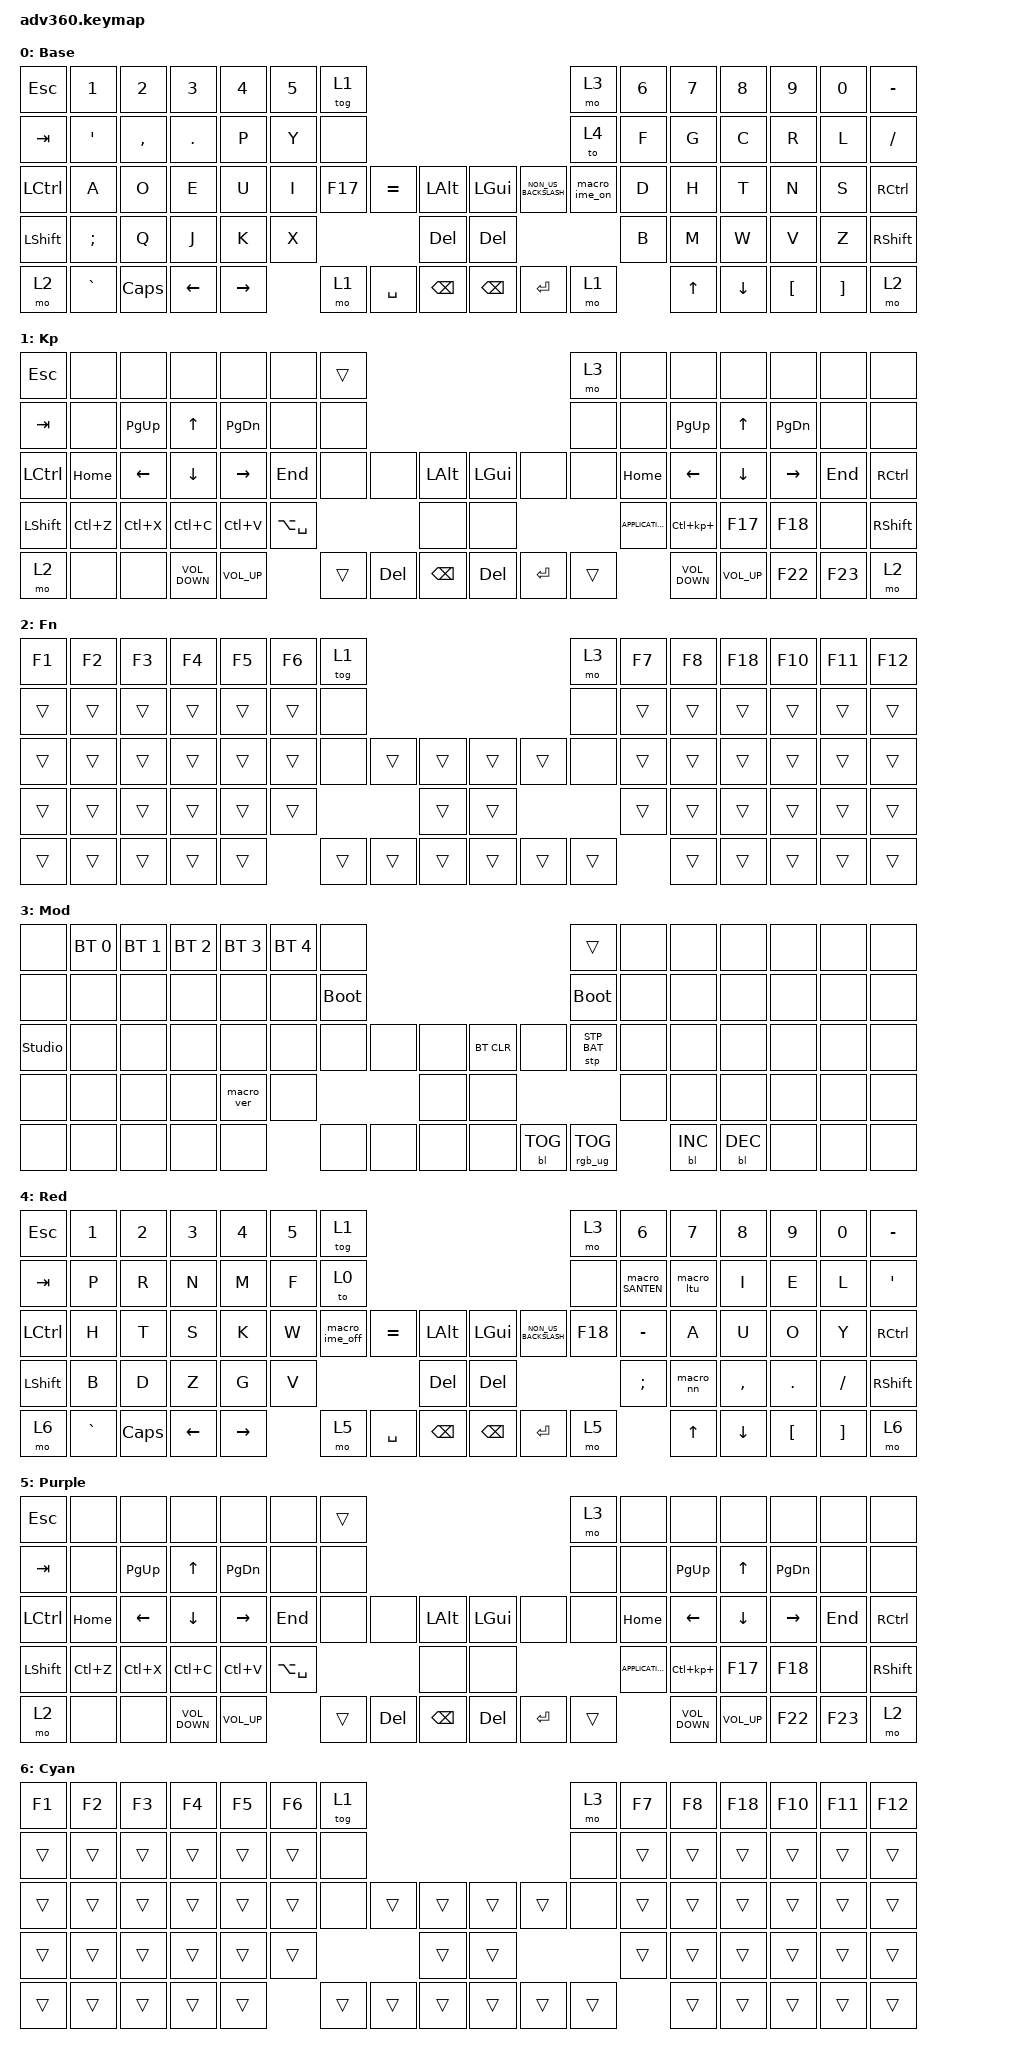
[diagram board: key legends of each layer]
#include <dt-bindings/zmk/stp.h>
#include <behaviors.dtsi>
#include <dt-bindings/zmk/backlight.h>
#include <dt-bindings/zmk/bt.h>
#include <dt-bindings/zmk/keys.h>
#include <dt-bindings/zmk/rgb.h>

/ {
    behaviors {
        #include "macros.dtsi"
      #include "version.dtsi"

        hm: homerow_mods {
            compatible = "zmk,behavior-hold-tap";
            label = "HOMEROW_MODS";
            #binding-cells = <2>;
            tapping-term-ms = <200>;
            quick_tap_ms = <175>;
            flavor = "tap-preferred";
            bindings = <&kp>, <&kp>;
        };

        ja_n2: ja_number_2 {
            compatible = "zmk,behavior-mod-morph";
            #binding-cells = <0>;
            bindings = <&kp N2>, <&kp LBKT>;

            mods = <(MOD_LSFT|MOD_RSFT)>;
        };
    };

    macros {
        macro_ltu: macro_ltu {
            compatible = "zmk,behavior-macro";
            #binding-cells = <0>;
            bindings = <&kp L &kp T &kp U>;
            label = "MACRO_LTU";
        };

        macro_nn: macro_nn {
            compatible = "zmk,behavior-macro";
            #binding-cells = <0>;
            bindings = <&kp N &kp N>;
            label = "MACRO_NN";
        };

        macro_ime_on: macro_ime_on {
            compatible = "zmk,behavior-macro";
            #binding-cells = <0>;
            bindings = <&kp INTERNATIONAL_4 &kp F18 &to 4>;
            label = "MACRO_IME_ON";
        };

        macro_ime_off: macro_ime_off {
            compatible = "zmk,behavior-macro";
            #binding-cells = <0>;
            bindings = <&kp INTERNATIONAL_5 &kp F17 &to 0>;
            label = "MACRO_IME_OFF";
        };

        macro_SANTEN: macro_SANTEN {
            compatible = "zmk,behavior-macro";
            #binding-cells = <0>;
            bindings = <&kp FSLH &kp FSLH &kp FSLH>;
            label = "MACRO_SANTEN";
        };
    };

    keymap {
        compatible = "zmk,keymap";

        default_layer {
            display-name = "Base";
            bindings = <
&kp ESC           &kp N1            &kp N2     &kp N3      &kp N4     &kp N5  &tog 1                                                                      &mo 3          &kp N6  &kp N7  &kp N8    &kp N9    &kp N0    &kp MINUS
&kp TAB           &kp SINGLE_QUOTE  &kp COMMA  &kp PERIOD  &kp P      &kp Y   &none                                                                       &to 4          &kp F   &kp G   &kp C     &kp R     &kp L     &kp SLASH
&kp LEFT_CONTROL  &kp A             &kp O      &kp E       &kp U      &kp I   &kp F17  &kp EQUAL  &kp LALT           &kp LGUI       &kp NON_US_BACKSLASH  &macro_ime_on  &kp D   &kp H   &kp T     &kp N     &kp S     &kp RIGHT_CONTROL
&kp LSHFT         &kp SEMICOLON     &kp Q      &kp J       &kp K      &kp X                       &kp DELETE         &kp DELETE                                          &kp B   &kp M   &kp W     &kp V     &kp Z     &kp RSHFT
&mo 2             &kp GRAVE         &kp CAPS   &kp LEFT    &kp RIGHT          &mo 1    &kp SPACE  &kp BACKSPACE      &kp BACKSPACE  &kp ENTER             &mo 1                  &kp UP  &kp DOWN  &kp LBKT  &kp RBKT  &mo 2
            >;
        };

        keypad {
            display-name = "Kp";
            bindings = <
&kp ESCAPE        &none      &none           &none              &none            &none          &trans                                                     &mo 3   &none              &none              &none            &none            &none    &none
&kp TAB           &none      &kp PAGE_UP     &kp UP             &kp PAGE_DOWN    &none          &none                                                      &none   &none              &kp PAGE_UP        &kp UP_ARROW     &kp PAGE_DOWN    &none    &none
&kp LEFT_CONTROL  &kp HOME   &kp LEFT_ARROW  &kp DOWN_ARROW     &kp RIGHT_ARROW  &kp END        &none   &none    &kp LALT           &kp LGUI    &none      &none   &kp HOME           &kp LEFT_ARROW     &kp DOWN_ARROW   &kp RIGHT_ARROW  &kp END  &kp RIGHT_CONTROL
&kp LSHFT         &kp LC(Z)  &kp LC(X)       &kp LC(C)          &kp LC(V)        &kp LA(SPACE)                   &none              &none                          &kp K_APPLICATION  &kp LC(KP_PLUS)    &kp F17          &kp F18          &none    &kp RSHFT
&mo 2             &none      &none           &kp C_VOLUME_DOWN  &kp C_VOLUME_UP                 &trans  &kp DEL  &kp BACKSPACE      &kp DELETE  &kp ENTER  &trans                     &kp C_VOLUME_DOWN  &kp C_VOLUME_UP  &kp F22          &kp F23  &mo 2
            >;
        };

        fn {
            display-name = "Fn";
            bindings = <
&kp F1  &kp F2  &kp F3  &kp F4  &kp F5  &kp F6  &tog 1                                      &mo 3   &kp F7  &kp F8  &kp F18  &kp F10  &kp F11  &kp F12
&trans  &trans  &trans  &trans  &trans  &trans  &none                                       &none   &trans  &trans  &trans   &trans   &trans   &trans
&trans  &trans  &trans  &trans  &trans  &trans  &none   &trans  &trans      &trans  &trans  &none   &trans  &trans  &trans   &trans   &trans   &trans
&trans  &trans  &trans  &trans  &trans  &trans                  &trans      &trans                  &trans  &trans  &trans   &trans   &trans   &trans
&trans  &trans  &trans  &trans  &trans          &trans  &trans  &trans      &trans  &trans  &trans          &trans  &trans   &trans   &trans   &trans
            >;
        };

        mod {
            display-name = "Mod";
            bindings = <
&none           &bt BT_SEL 0  &bt BT_SEL 1  &bt BT_SEL 2  &bt BT_SEL 3  &bt BT_SEL 4  &none                                                  &trans           &none  &none       &none       &none  &none  &none
&none           &none         &none         &none         &none         &none         &bootloader                                            &bootloader      &none  &none       &none       &none  &none  &none
&studio_unlock  &none         &none         &none         &none         &none         &none        &none  &none      &bt BT_CLR  &none       &stp STP_BAT     &none  &none       &none       &none  &none  &none
&none           &none         &none         &none         &macro_ver    &none                             &none      &none                                    &none  &none       &none       &none  &none  &none
&none           &none         &none         &none         &none                       &none        &none  &none      &none       &bl BL_TOG  &rgb_ug RGB_TOG         &bl BL_INC  &bl BL_DEC  &none  &none  &none
            >;
        };

        Japanese {
            display-name = "Red";
            bindings = <
&kp ESC           &kp N1     &kp N2    &kp N3    &kp N4     &kp N5  &tog 1                                                                             &mo 3    &kp N6         &kp N7      &kp N8     &kp N9      &kp N0     &kp MINUS
&kp TAB           &kp P      &kp R     &kp N     &kp M      &kp F   &to 0                                                                              &none    &macro_SANTEN  &macro_ltu  &kp I      &kp E       &kp L      &kp APOS
&kp LEFT_CONTROL  &kp H      &kp T     &kp S     &kp K      &kp W   &macro_ime_off  &kp EQUAL  &kp LALT           &kp LGUI       &kp NON_US_BACKSLASH  &kp F18  &kp MINUS      &kp A       &kp U      &kp O       &kp Y      &kp RIGHT_CONTROL
&kp LSHFT         &kp B      &kp D     &kp Z     &kp G      &kp V                              &kp DELETE         &kp DELETE                                    &kp SEMICOLON  &macro_nn   &kp COMMA  &kp PERIOD  &kp SLASH  &kp RSHFT
&mo 6             &kp GRAVE  &kp CAPS  &kp LEFT  &kp RIGHT          &mo 5           &kp SPACE  &kp BACKSPACE      &kp BACKSPACE  &kp ENTER             &mo 5                   &kp UP      &kp DOWN   &kp LBKT    &kp RBKT   &mo 6
            >;
        };

        keypad_JP {
            display-name = "Purple";
            bindings = <
&kp ESCAPE        &none      &none           &none              &none            &none          &trans                                                     &mo 3   &none              &none              &none            &none            &none    &none
&kp TAB           &none      &kp PAGE_UP     &kp UP             &kp PAGE_DOWN    &none          &none                                                      &none   &none              &kp PAGE_UP        &kp UP_ARROW     &kp PAGE_DOWN    &none    &none
&kp LEFT_CONTROL  &kp HOME   &kp LEFT_ARROW  &kp DOWN_ARROW     &kp RIGHT_ARROW  &kp END        &none   &none    &kp LALT           &kp LGUI    &none      &none   &kp HOME           &kp LEFT_ARROW     &kp DOWN_ARROW   &kp RIGHT_ARROW  &kp END  &kp RIGHT_CONTROL
&kp LSHFT         &kp LC(Z)  &kp LC(X)       &kp LC(C)          &kp LC(V)        &kp LA(SPACE)                   &none              &none                          &kp K_APPLICATION  &kp LC(KP_PLUS)    &kp F17          &kp F18          &none    &kp RSHFT
&mo 2             &none      &none           &kp C_VOLUME_DOWN  &kp C_VOLUME_UP                 &trans  &kp DEL  &kp BACKSPACE      &kp DELETE  &kp ENTER  &trans                     &kp C_VOLUME_DOWN  &kp C_VOLUME_UP  &kp F22          &kp F23  &mo 2
            >;
        };

        Fn_JP {
            display-name = "Cyan";
            bindings = <
&kp F1  &kp F2  &kp F3  &kp F4  &kp F5  &kp F6  &tog 1                                      &mo 3   &kp F7  &kp F8  &kp F18  &kp F10  &kp F11  &kp F12
&trans  &trans  &trans  &trans  &trans  &trans  &none                                       &none   &trans  &trans  &trans   &trans   &trans   &trans
&trans  &trans  &trans  &trans  &trans  &trans  &none   &trans  &trans      &trans  &trans  &none   &trans  &trans  &trans   &trans   &trans   &trans
&trans  &trans  &trans  &trans  &trans  &trans                  &trans      &trans                  &trans  &trans  &trans   &trans   &trans   &trans
&trans  &trans  &trans  &trans  &trans          &trans  &trans  &trans      &trans  &trans  &trans          &trans  &trans   &trans   &trans   &trans
            >;
        };

        extra4 {
            display-name = "Yellow";
            status = "reserved";
        };
    };
};
